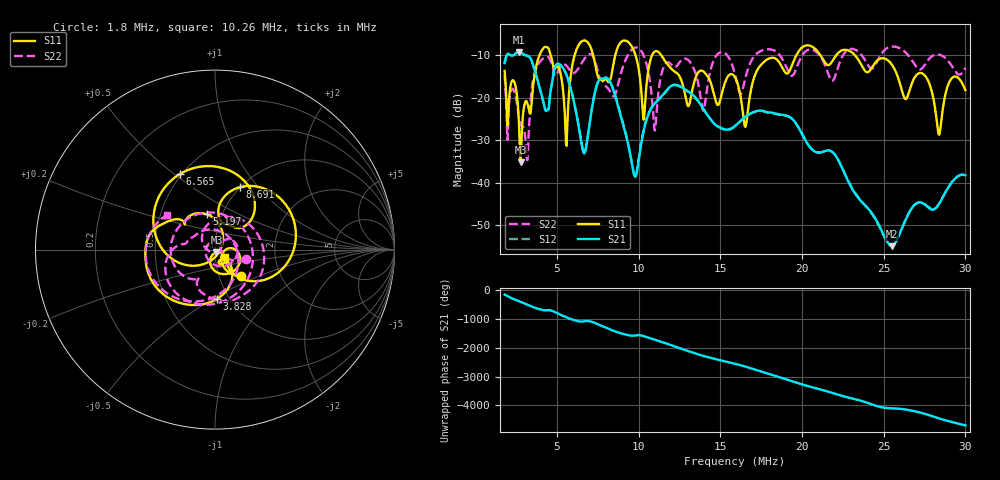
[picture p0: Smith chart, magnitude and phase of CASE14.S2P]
!Agilent Technologies,E5061B,MY49101568,A.02.00
!Date: Wed Mar 01 15:33:20 2023
!Data & Calibration Information:
!Freq	S11:SOLT2(OFF)	S21:SOLT2(OFF)	S12:SOLT2(OFF)	S22:SOLT2(OFF)
# Hz S dB R 50
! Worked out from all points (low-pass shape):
!   1155 points, 1.8 MHz to 30 MHz, reference 50 ohm
!   highest |S21| = -9.26 dB at 2.655 MHz (marker M1); lowest = -54.9 dB at 25.5 MHz (marker M2)
!   |S21| within 3 dB of the highest: start of sweep to 3.538 MHz; 4.962 MHz to 5.185 MHz (223.7 kHz wide, 4.41 % of centre)
!   lowest |S11| = -35.2 dB at 2.777 MHz (marker M3), VSWR 1.04, Z = 50.8 - j1.57 ohm
!   |S11| at or under -10 dB: start of sweep to 3.938 MHz; 11.38 MHz to 19.66 MHz (8.28 MHz wide, 53.3 % of centre); 23.23 MHz to end of sweep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
!   |S22| runs from -34.7 to -8.0 dB; largest |S21 - S12| = 0.0045
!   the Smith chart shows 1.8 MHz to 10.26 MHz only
!   S11 on the Smith chart (normalised r, x): 1.8 MHz: 1.27, -0.39; 3.828 MHz: 0.88, -0.52; 5.197 MHz: 0.85, +0.35; 6.565 MHz: 0.49, +0.52; 8.691 MHz: 1.00, +0.81; 10.26 MHz: 1.11, -0.09
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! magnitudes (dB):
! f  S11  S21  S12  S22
! 1.8 MHz  -13.7  -11.9  -11.9  -14.8
! 2.655 MHz  -24.3  -9.3  -9.3  -24.1
! 2.777 MHz  -35.2  -9.4  -9.4  -26.4
! 3.193 MHz  -21.3  -10.2  -10.2  -34.7
! 3.828 MHz  -11.2  -16.1  -16.1  -12.3
! 5.197 MHz  -13.9  -12.3  -12.2  -12.8
! 5.588 MHz  -31.4  -14.7  -14.7  -12.5
! 6.516 MHz  -6.8  -31.0  -30.7  -11.8
! 6.565 MHz  -6.7  -32.0  -31.8  -11.5
! 7.592 MHz  -15.6  -15.9  -15.8  -15.1
! 8.691 MHz  -8.5  -21.3  -21.1  -17.8
! 9.742 MHz  -9.3  -38.3  -38.4  -8.3
! 10.26 MHz  -23.3  -28.9  -28.5  -9.6
! 11.21 MHz  -9.3  -20.5  -20.6  -18.9
! 13.04 MHz  -22.0  -18.5  -18.6  -11.2
! 15.9 MHz  -15.2  -26.7  -26.7  -14.5
! 16.54 MHz  -26.9  -24.5  -24.5  -15.4
! 20.62 MHz  -8.0  -32.2  -32.2  -8.7
! 25.31 MHz  -11.4  -54.4  -54.3  -8.2
! 25.5 MHz  -12.3  -54.9  -54.8  -8.0
! 28.39 MHz  -28.7  -45.0  -44.9  -9.9
! 30 MHz  -18.2  -38.3  -38.2  -13.0
